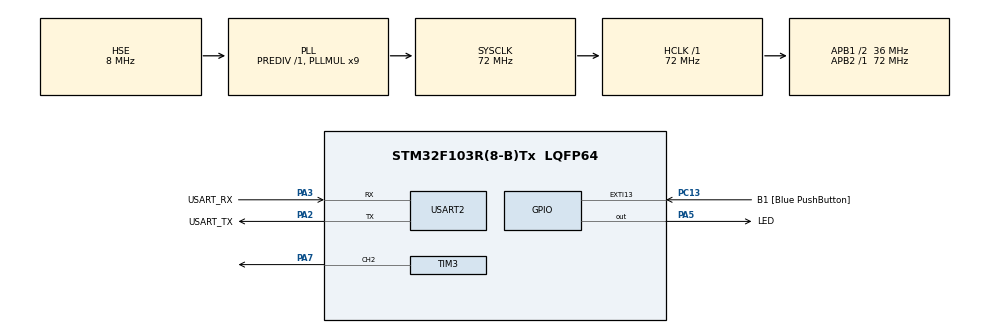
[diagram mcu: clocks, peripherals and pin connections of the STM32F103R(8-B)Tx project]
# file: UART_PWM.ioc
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FREERTOS.Tasks01=defaultTask,24,128,StartDefaultTask,Default,NULL,Dynamic,NULL,NULL
FREERTOS.configUSE_NEWLIB_REENTRANT=1
Mcu.Family=STM32F1
Mcu.Name=STM32F103R(8-B)Tx
Mcu.Package=LQFP64
NVIC.EXTI15_10_IRQn=true\:5\:0\:false\:false\:true\:true\:true\:true\:true
NVIC.PriorityGroup=NVIC_PRIORITYGROUP_4
NVIC.TIM4_IRQn=true\:15\:0\:false\:false\:true\:false\:false\:true\:true
NVIC.TimeBase=TIM4_IRQn
NVIC.TimeBaseIP=TIM4
NVIC.USART2_IRQn=true\:5\:0\:false\:false\:true\:true\:true\:true\:true
PA13.GPIO_Label=TMS
PA13.Mode=Serial_Wire
PA13.Signal=SYS_JTMS-SWDIO
PA14.GPIO_Label=TCK
PA14.Mode=Serial_Wire
PA14.Signal=SYS_JTCK-SWCLK
PA2.GPIO_Label=USART_TX
PA2.GPIO_Mode=GPIO_MODE_AF_PP
PA2.GPIO_PuPd=GPIO_NOPULL
PA2.GPIO_Speed=GPIO_SPEED_FREQ_LOW
PA2.Mode=Asynchronous
PA2.Signal=USART2_TX
PA3.GPIO_Label=USART_RX
PA3.GPIO_Mode=GPIO_MODE_AF_PP
PA3.GPIO_PuPd=GPIO_NOPULL
PA3.GPIO_Speed=GPIO_SPEED_FREQ_LOW
PA3.Mode=Asynchronous
PA3.Signal=USART2_RX
PA5.GPIO_Label=LED
PA5.GPIO_ModeDefaultOutputPP=GPIO_MODE_OUTPUT_PP
PA5.GPIO_PuPd=GPIO_NOPULL
PA5.GPIO_Speed=GPIO_SPEED_FREQ_LOW
PA5.Signal=GPIO_Output
PA7.Signal=S_TIM3_CH2
PB3.GPIO_Label=SWO
PB3.Signal=SYS_JTDO-TRACESWO
PC13-TAMPER-RTC.GPIO_Label=B1 [Blue PushButton]
PC13-TAMPER-RTC.GPIO_PuPd=GPIO_NOPULL
PC13-TAMPER-RTC.Signal=GPXTI13
PC14-OSC32_IN.Mode=LSE-External-Oscillator
PC14-OSC32_IN.Signal=RCC_OSC32_IN
PC15-OSC32_OUT.Mode=LSE-External-Oscillator
PC15-OSC32_OUT.Signal=RCC_OSC32_OUT
PD0-OSC_IN.Mode=HSE-External-Oscillator
PD0-OSC_IN.Signal=RCC_OSC_IN
PD1-OSC_OUT.Mode=HSE-External-Oscillator
PD1-OSC_OUT.Signal=RCC_OSC_OUT
ProjectManager.HeapSize=0x200
ProjectManager.StackSize=0x400
ProjectManager.TargetToolchain=STM32CubeIDE
RCC.AHBFreq_Value=72000000
RCC.APB1CLKDivider=RCC_HCLK_DIV2
RCC.APB1Freq_Value=36000000
RCC.APB1TimFreq_Value=72000000
RCC.APB2Freq_Value=72000000
RCC.APB2TimFreq_Value=72000000
RCC.HCLKFreq_Value=72000000
RCC.PLLMUL=RCC_PLL_MUL9
RCC.PLLSourceVirtual=RCC_PLLSOURCE_HSE
RCC.RTCClockSelection=RCC_RTCCLKSOURCE_LSE
RCC.SYSCLKFreq_VALUE=72000000
RCC.SYSCLKSource=RCC_SYSCLKSOURCE_PLLCLK
RCC.USBFreq_Value=72000000
SH.S_TIM3_CH2.0=TIM3_CH2,PWM Generation2 CH2
TIM3.Channel-PWM\ Generation2\ CH2=TIM_CHANNEL_2
TIM3.Period=999
TIM3.Prescaler=71
USART2.VirtualMode=VM_ASYNC
VP_FREERTOS_VS_CMSIS_V2.Mode=CMSIS_V2
VP_SYS_VS_tim4.Mode=TIM4
board=NUCLEO-F103RB

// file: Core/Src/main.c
/* USER CODE BEGIN Header */
/**
  ******************************************************************************
  * @file           : main.c
  * @brief          : Main program body
  ******************************************************************************
  * @attention
  *
  * Copyright (c) 2024 STMicroelectronics.
  * All rights reserved.
  *
  * This software is licensed under terms that can be found in the LICENSE file
  * in the root directory of this software component.
  * If no LICENSE file comes with this software, it is provided AS-IS.
  *
  ******************************************************************************
  */
/* USER CODE END Header */
#include "main.h"
#include "cmsis_os.h"
#include "FreeRTOS.h"
#include "task.h"
#include "queue.h"

TIM_HandleTypeDef htim3;
UART_HandleTypeDef huart2;

QueueHandle_t uartQueue;
/* Definitions for defaultTask */
osThreadId_t defaultTaskHandle;
const osThreadAttr_t defaultTask_attributes = {
  .name = "defaultTask",
  .stack_size = 128 * 4,
  .priority = (osPriority_t) osPriorityNormal,
};

void SystemClock_Config(void);
static void MX_GPIO_Init(void);
static void MX_USART2_UART_Init(void);
static void MX_TIM3_Init(void);
void StartDefaultTask(void *argument);

/* USER CODE BEGIN 0 */
char rxData[80];
uint16_t value = 0;

void HAL_UART_RxCpltCallback(UART_HandleTypeDef* huart) {
	static char rxBuffer[10];
	static uint8_t index = 0;

	if (huart->Instance == USART2) {
	        rxBuffer[index++] = rxData[0];
	        // 데이터를 큐에 보냄
	        xQueueSendToBackFromISR(uartQueue, &rxData, NULL);
	        // 다음 데이터 수신을 기다림
	        HAL_UART_Receive_IT(&huart2, &rxData, 1);
	    }
	}

void UART_Task(void *pvParameters) {
    char rxBuffer[80];
    uint8_t index = 0;

    while (1) {
        // 큐에서 데이터를 받음
        if (xQueueReceive(uartQueue, &rxBuffer[index], portMAX_DELAY) == pdTRUE) {
            if (rxBuffer[index] == '\r') {
                value = atoi(rxBuffer);
                if ((value >= 500) && (value <= 1000)) {
                    __HAL_TIM_SET_COMPARE(&htim3, TIM_CHANNEL_2, value);
                }
                else {
                    char error_msg[] = "Error: PWM width must be between 500 and 1000\r\n";
                    HAL_UART_Transmit(&huart2, (uint8_t*)error_msg, strlen(error_msg), HAL_MAX_DELAY);
                }
                index = 0;
            }
            else {
                index++;
                if (index >= sizeof(rxBuffer)) {
                    // 버퍼가 가득 찼을 때 처리
                    index = 0;
                }
            }
        }
    }
}
/* USER CODE END 0 */

int main(void)
{

  /* MCU Configuration--------------------------------------------------------*/

  /* Reset of all peripherals, Initializes the Flash interface and the Systick. */
  HAL_Init();

  /* Configure the system clock */
  SystemClock_Config();

  /* Initialize all configured peripherals */
  MX_GPIO_Init();
  MX_USART2_UART_Init();
  MX_TIM3_Init();
  /* USER CODE BEGIN 2 */
  uartQueue = xQueueCreate(80, sizeof(char));
  HAL_TIM_PWM_Start(&htim3, TIM_CHANNEL_2);
  HAL_UART_Receive_IT(&huart2, (uint8_t*)rxData, 1);
  xTaskCreate(UART_Task, "UART_Task", configMINIMAL_STACK_SIZE, NULL, tskIDLE_PRIORITY + 1, NULL);

  vTaskStartScheduler();
  /* USER CODE END 2 */

  /* Init scheduler */
  osKernelInitialize();

  /* Create the thread(s) */
  /* creation of defaultTask */
  defaultTaskHandle = osThreadNew(StartDefaultTask, NULL, &defaultTask_attributes);

  /* Start scheduler */
  osKernelStart();

  /* We should never get here as control is now taken by the scheduler */
  /* Infinite loop */
  while (1)
  {

  }
}

void SystemClock_Config(void)
{
  RCC_OscInitTypeDef RCC_OscInitStruct = {0};
  RCC_ClkInitTypeDef RCC_ClkInitStruct = {0};

  /** Initializes the RCC Oscillators according to the specified parameters
  * in the RCC_OscInitTypeDef structure.
  */
  RCC_OscInitStruct.OscillatorType = RCC_OSCILLATORTYPE_HSE;
  RCC_OscInitStruct.HSEState = RCC_HSE_ON;
  RCC_OscInitStruct.HSEPredivValue = RCC_HSE_PREDIV_DIV1;
  RCC_OscInitStruct.HSIState = RCC_HSI_ON;
  RCC_OscInitStruct.PLL.PLLState = RCC_PLL_ON;
  RCC_OscInitStruct.PLL.PLLSource = RCC_PLLSOURCE_HSE;
  RCC_OscInitStruct.PLL.PLLMUL = RCC_PLL_MUL9;
  if (HAL_RCC_OscConfig(&RCC_OscInitStruct) != HAL_OK)
  {
    Error_Handler();
  }

  /** Initializes the CPU, AHB and APB buses clocks
  */
  RCC_ClkInitStruct.ClockType = RCC_CLOCKTYPE_HCLK|RCC_CLOCKTYPE_SYSCLK
                              |RCC_CLOCKTYPE_PCLK1|RCC_CLOCKTYPE_PCLK2;
  RCC_ClkInitStruct.SYSCLKSource = RCC_SYSCLKSOURCE_PLLCLK;
  RCC_ClkInitStruct.AHBCLKDivider = RCC_SYSCLK_DIV1;
  RCC_ClkInitStruct.APB1CLKDivider = RCC_HCLK_DIV2;
  RCC_ClkInitStruct.APB2CLKDivider = RCC_HCLK_DIV1;

  if (HAL_RCC_ClockConfig(&RCC_ClkInitStruct, FLASH_LATENCY_2) != HAL_OK)
  {
    Error_Handler();
  }
}

static void MX_TIM3_Init(void)
{

  TIM_MasterConfigTypeDef sMasterConfig = {0};
  TIM_OC_InitTypeDef sConfigOC = {0};

  htim3.Instance = TIM3;
  htim3.Init.Prescaler = 71;
  htim3.Init.CounterMode = TIM_COUNTERMODE_UP;
  htim3.Init.Period = 999;
  htim3.Init.ClockDivision = TIM_CLOCKDIVISION_DIV1;
  htim3.Init.AutoReloadPreload = TIM_AUTORELOAD_PRELOAD_DISABLE;
  if (HAL_TIM_PWM_Init(&htim3) != HAL_OK)
  {
    Error_Handler();
  }
  sMasterConfig.MasterOutputTrigger = TIM_TRGO_RESET;
  sMasterConfig.MasterSlaveMode = TIM_MASTERSLAVEMODE_DISABLE;
  if (HAL_TIMEx_MasterConfigSynchronization(&htim3, &sMasterConfig) != HAL_OK)
  {
    Error_Handler();
  }
  sConfigOC.OCMode = TIM_OCMODE_PWM1;
  sConfigOC.Pulse = 0;
  sConfigOC.OCPolarity = TIM_OCPOLARITY_HIGH;
  sConfigOC.OCFastMode = TIM_OCFAST_DISABLE;
  if (HAL_TIM_PWM_ConfigChannel(&htim3, &sConfigOC, TIM_CHANNEL_2) != HAL_OK)
  {
    Error_Handler();
  }
  HAL_TIM_MspPostInit(&htim3);

}

static void MX_USART2_UART_Init(void)
{

  huart2.Instance = USART2;
  huart2.Init.BaudRate = 115200;
  huart2.Init.WordLength = UART_WORDLENGTH_8B;
  huart2.Init.StopBits = UART_STOPBITS_1;
  huart2.Init.Parity = UART_PARITY_NONE;
  huart2.Init.Mode = UART_MODE_TX_RX;
  huart2.Init.HwFlowCtl = UART_HWCONTROL_NONE;
  huart2.Init.OverSampling = UART_OVERSAMPLING_16;
  if (HAL_UART_Init(&huart2) != HAL_OK)
  {
    Error_Handler();
  }

}

static void MX_GPIO_Init(void)
{
  GPIO_InitTypeDef GPIO_InitStruct = {0};

  /* GPIO Ports Clock Enable */
  __HAL_RCC_GPIOC_CLK_ENABLE();
  __HAL_RCC_GPIOD_CLK_ENABLE();
  __HAL_RCC_GPIOA_CLK_ENABLE();
  __HAL_RCC_GPIOB_CLK_ENABLE();

  /*Configure GPIO pin Output Level */
  HAL_GPIO_WritePin(LED_GPIO_Port, LED_Pin, GPIO_PIN_RESET);

  /*Configure GPIO pin : B1_Pin */
  GPIO_InitStruct.Pin = B1_Pin;
  GPIO_InitStruct.Mode = GPIO_MODE_IT_RISING;
  GPIO_InitStruct.Pull = GPIO_NOPULL;
  HAL_GPIO_Init(B1_GPIO_Port, &GPIO_InitStruct);

  /*Configure GPIO pin : LED_Pin */
  GPIO_InitStruct.Pin = LED_Pin;
  GPIO_InitStruct.Mode = GPIO_MODE_OUTPUT_PP;
  GPIO_InitStruct.Pull = GPIO_NOPULL;
  GPIO_InitStruct.Speed = GPIO_SPEED_FREQ_LOW;
  HAL_GPIO_Init(LED_GPIO_Port, &GPIO_InitStruct);

  /* EXTI interrupt init*/
  HAL_NVIC_SetPriority(EXTI15_10_IRQn, 5, 0);
  HAL_NVIC_EnableIRQ(EXTI15_10_IRQn);

}

void StartDefaultTask(void *argument)
{
  for(;;)
  {
    osDelay(1);
  }
}

void HAL_TIM_PeriodElapsedCallback(TIM_HandleTypeDef *htim)
{
  if (htim->Instance == TIM4) {
    HAL_IncTick();
  }
}

void Error_Handler(void)
{
  __disable_irq();
  while (1)
  {
  }
}
